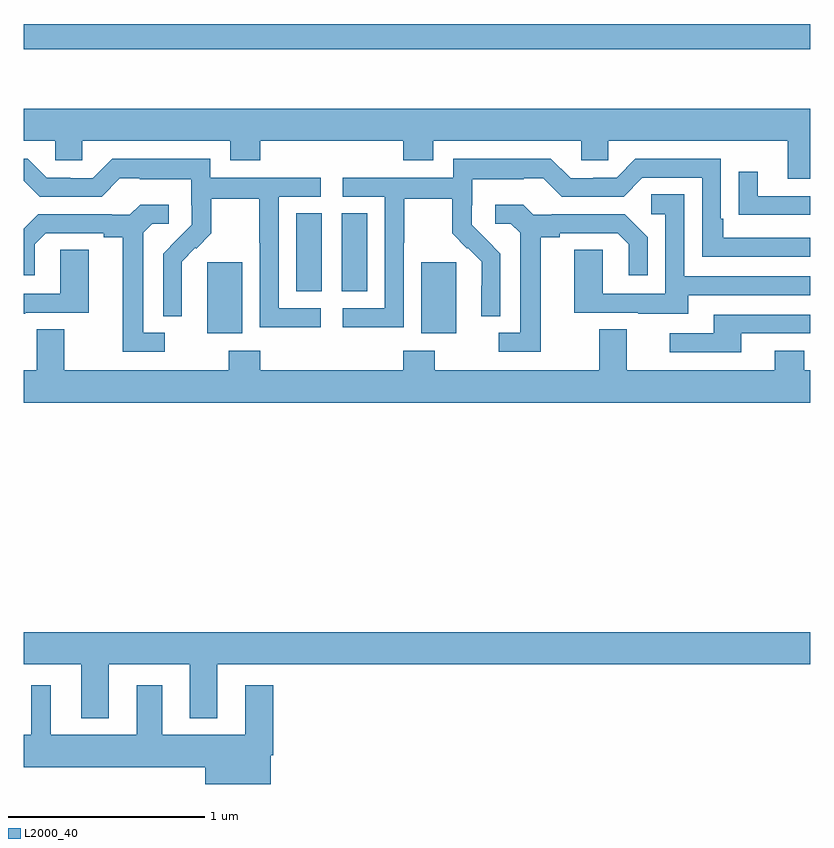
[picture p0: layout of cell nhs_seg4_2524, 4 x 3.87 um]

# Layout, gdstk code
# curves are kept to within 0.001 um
import gdstk
lib = gdstk.Library(unit=1e-6, precision=1e-09)
def R(c, l, rs):  # rectangles x0, y0, x1, y1
    for r in rs: c.add(gdstk.rectangle(r[:2], r[2:], *l))
def P(c, l, *ps):  # polygons
    for p in ps: c.add(gdstk.Polygon(p, *l))
L2000_40 = (2000, 40)

nhs_seg4_2524 = lib.new_cell('nhs_seg4_2524')
R(nhs_seg4_2524, L2000_40, [(243.932,777.194,244.111,777.555), (245.021,777.194,245.2,777.555), (244.385,777.406,244.516,777.803), (244.616,777.406,244.747,777.803), (243,778.638,247,778.766)])
P(nhs_seg4_2524, L2000_40, [(247,778.336),(243,778.336),(243,778.172),(243.159,778.172),(243.159,778.074),(243.297,778.074),(243.297,778.172),(244.049,778.172),(244.049,778.073),(244.202,778.073),(244.202,778.172),(244.931,778.172),(244.931,778.073),(245.083,778.073),(245.083,778.172),(245.835,778.172),(245.835,778.074),(245.973,778.074),(245.973,778.172),(246.887,778.172),(246.887,777.978),(247,777.978)],
  [(244.932,777.652),(244.935,777.652),(244.935,777.876),(245.179,777.876),(245.179,777.701),(245.256,777.624),(245.259,777.627),(245.33,777.557),(245.33,777.434),(245.328,777.434),(245.328,777.28),(245.424,777.28),(245.424,777.598),(245.278,777.746),(245.278,777.843),(245.28,777.843),(245.28,777.977),(245.543,777.977),(245.543,777.981),(245.643,777.981),(245.736,777.888),(246.051,777.888),(246.147,777.984),(246.45,777.984),(246.45,777.582),(247,777.582),(247,777.678),(246.559,777.678),(246.559,777.775),(246.546,777.775),(246.546,778.08),(246.111,778.08),(246.015,777.984),(245.897,777.984),(245.897,777.981),(245.781,777.981),(245.681,778.081),(245.184,778.081),(245.184,777.984),(244.623,777.984),(244.623,777.888),(244.836,777.888),(244.836,777.321),(244.623,777.321),(244.623,777.223),(244.932,777.223)],
  [(244.51,777.321),(244.296,777.321),(244.296,777.888),(244.51,777.888),(244.51,777.984),(243.948,777.984),(243.948,778.081),(243.451,778.081),(243.351,777.981),(243.236,777.981),(243.236,777.984),(243.117,777.984),(243.021,778.08),(243,778.08),(243,777.969),(243.081,777.888),(243.396,777.888),(243.489,777.981),(243.589,777.981),(243.589,777.977),(243.852,777.977),(243.852,777.843),(243.854,777.843),(243.854,777.746),(243.708,777.598),(243.708,777.28),(243.804,777.28),(243.803,777.557),(243.873,777.627),(243.876,777.624),(243.953,777.701),(243.953,777.876),(244.198,777.876),(244.198,777.652),(244.2,777.652),(244.2,777.223),(244.51,777.223)],
  [(247,777.891),(246.733,777.891),(246.733,778.015),(246.637,778.015),(246.637,777.796),(246.739,777.796),(246.739,777.795),(247,777.795)],
  [(246.379,777.387),(247,777.387),(247,777.483),(246.36,777.483),(246.36,777.899),(246.192,777.899),(246.192,777.798),(246.264,777.798),(246.264,777.393),(245.946,777.393),(245.946,777.617),(245.801,777.617),(245.801,777.297),(246.125,777.297),(246.125,777.293),(246.379,777.293)],
  [(245.629,777.68),(245.725,777.68),(245.725,777.702),(246.02,777.702),(246.077,777.645),(246.077,777.489),(246.174,777.489),(246.174,777.682),(246.058,777.798),(245.686,777.798),(245.686,777.795),(245.592,777.795),(245.54,777.847),(245.397,777.847),(245.397,777.75),(245.478,777.75),(245.525,777.703),(245.525,777.195),(245.415,777.195),(245.415,777.099),(245.629,777.099)],
  [(243.718,777.195),(243.607,777.195),(243.607,777.703),(243.654,777.75),(243.736,777.75),(243.736,777.847),(243.592,777.847),(243.54,777.795),(243.446,777.795),(243.446,777.798),(243.074,777.798),(243,777.724),(243,777.489),(243.055,777.489),(243.055,777.645),(243.112,777.702),(243.407,777.702),(243.407,777.68),(243.503,777.68),(243.503,777.099),(243.718,777.099)],
  [(243.007,777.297),(243.331,777.297),(243.331,777.617),(243.186,777.617),(243.186,777.393),(243,777.393),(243,777.293),(243.007,777.293)],
  [(246.649,777.192),(247,777.192),(247,777.288),(246.509,777.288),(246.509,777.192),(246.285,777.192),(246.285,777.096),(246.649,777.096)],
  [(247,777.004),(246.969,777.004),(246.969,777.103),(246.821,777.103),(246.821,777.004),(246.067,777.004),(246.067,777.212),(245.927,777.212),(245.927,777.004),(245.091,777.004),(245.091,777.103),(244.931,777.103),(244.931,777.004),(244.202,777.004),(244.202,777.103),(244.042,777.103),(244.042,777.004),(243.205,777.004),(243.205,777.212),(243.065,777.212),(243.065,777.004),(243,777.004),(243,776.84),(247,776.84)],
  [(243.433,775.508),(243.845,775.508),(243.845,775.235),(243.985,775.235),(243.985,775.508),(247,775.508),(247,775.672),(243,775.672),(243,775.508),(243.293,775.508),(243.293,775.235),(243.433,775.235)],
  [(244.255,775.046),(244.268,775.046),(244.268,775.402),(244.127,775.402),(244.127,775.15),(243.703,775.15),(243.703,775.402),(243.575,775.402),(243.575,775.15),(243.136,775.15),(243.136,775.402),(243.038,775.402),(243.038,775.15),(243,775.15),(243,774.986),(243.923,774.986),(243.923,774.9),(244.255,774.9)])

lib.write_gds('nhs_seg4_2524.gds')
